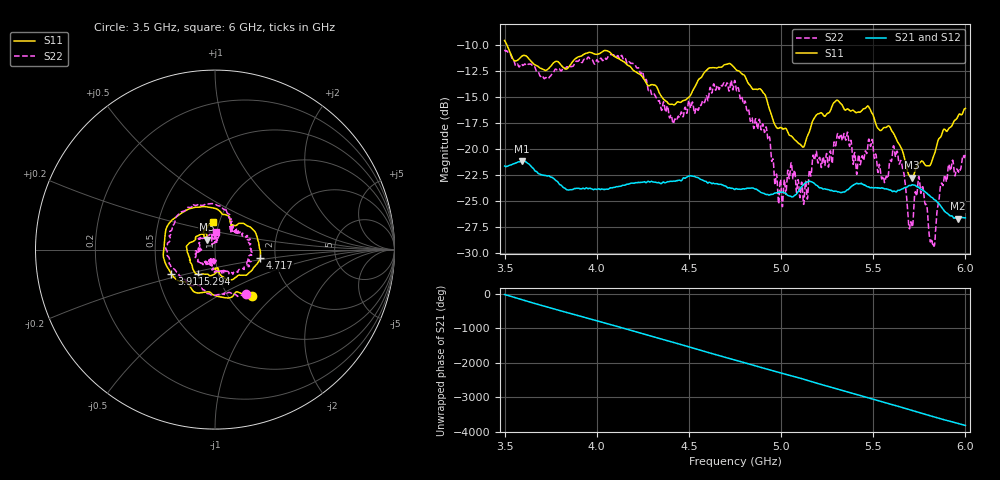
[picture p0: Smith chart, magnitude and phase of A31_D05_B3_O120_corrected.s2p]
! Created with skrf 1.9.0 (http://scikit-rf.org).
# Hz S RI R 50.0
!freq ReS11 ImS11 ReS21 ImS21 ReS12 ImS12 ReS22 ImS22
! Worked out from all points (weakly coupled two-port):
!   1601 points, 3.5 GHz to 6 GHz, reference 50 ohm
!   highest |S21| = -21.16 dB at 3.592 GHz (marker M1); lowest = -26.7 dB at 5.958 GHz (marker M2)
!   lowest |S11| = -22.8 dB at 5.709 GHz (marker M3), VSWR 1.16, Z = 45.2 + j5.05 ohm
!   |S11| at or under -10 dB: 3.512 GHz to end of sweep
!   |S22| runs from -29.3 to -10.5 dB; largest |S21 - S12| = 0.00096
!   S11 on the Smith chart (normalised r, x): 3.5 GHz: 1.28, -0.74; 3.911 GHz: 0.59, -0.17; 4.717 GHz: 1.67, -0.16; 5.294 GHz: 0.79, -0.23; 6 GHz: 0.94, +0.30
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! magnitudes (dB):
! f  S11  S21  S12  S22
! 3.5 GHz  -9.6  -21.7  -21.6  -10.5
! 3.592 GHz  -11.1  -21.2  -21.2  -11.9
! 3.911 GHz  -11.1  -23.8  -23.8  -11.5
! 3.917 GHz  -11.1  -23.9  -23.8  -11.7
! 4.144 GHz  -11.6  -23.5  -23.5  -11.4
! 4.334 GHz  -14.4  -23.2  -23.2  -15.4
! 4.422 GHz  -15.8  -23.1  -23.1  -17.2
! 4.717 GHz  -11.8  -23.7  -23.8  -14.5
! 4.75 GHz  -12.3  -23.9  -23.8  -13.5
! 4.928 GHz  -15.7  -24.4  -24.4  -19.1
! 4.997 GHz  -18.0  -24.2  -24.1  -22.9
! 5.133 GHz  -19.3  -23.2  -23.2  -23.1
! 5.167 GHz  -17.5  -23.2  -23.2  -21.7
! 5.294 GHz  -15.4  -24.1  -24.0  -19.7
! 5.584 GHz  -17.8  -23.9  -23.9  -22.1
! 5.641 GHz  -19.6  -24.0  -24.0  -21.5
! 5.709 GHz  -22.8  -23.5  -23.4  -27.4
! 5.756 GHz  -21.3  -23.9  -23.8  -24.1
! 5.823 GHz  -20.9  -24.7  -24.7  -29.2
! 5.875 GHz  -18.5  -25.7  -25.7  -23.4
! 5.958 GHz  -16.9  -26.7  -26.6  -22.1
! 6 GHz  -16.1  -26.6  -26.6  -20.4
